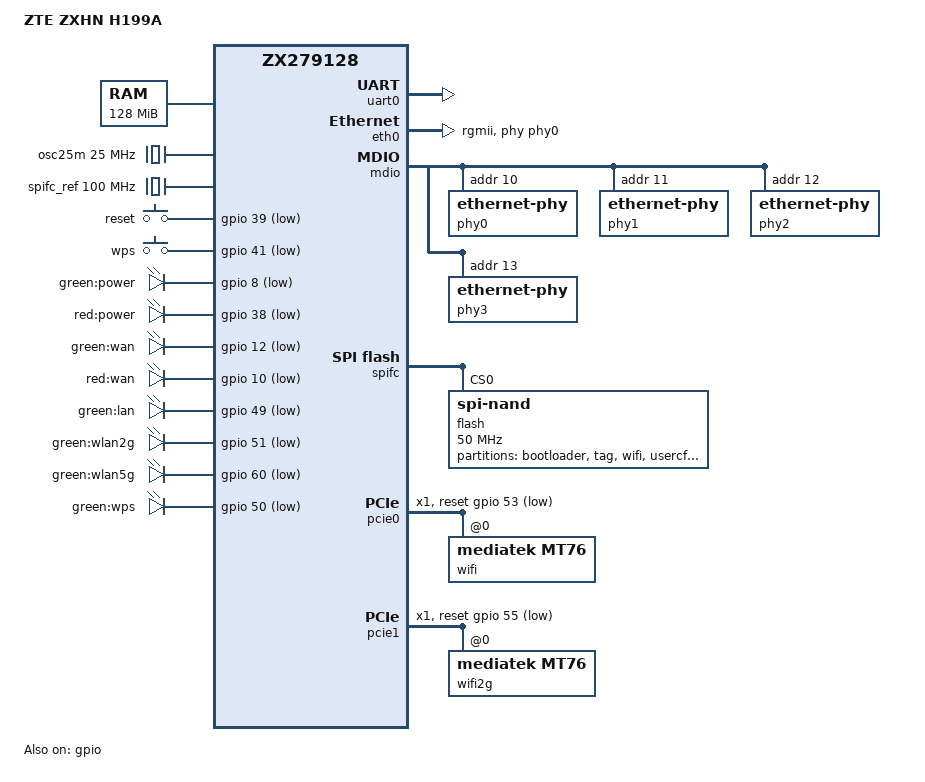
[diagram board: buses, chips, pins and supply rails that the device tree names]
// SPDX-License-Identifier: GPL-2.0-or-later OR MIT
/*
 * ZTE ZXHN H199A Ethernet router — ZX279128S (dual Cortex-A9)
 *
 * First-light bring-up DTS for mainline Linux 6.6 via OpenWrt armsr/armv7.
 *
 * The ZX279128S has no mainline platform support. This DTS uses only
 * generic multiplatform IP blocks present on the SoC (GIC, PL011, A9
 * global timer, PL310 L2), with FIXED clocks at the values inherited
 * from cspboot/U-Boot — no clock driver needed to reach a shell:
 *
 *   uartclk    25 MHz   measured live from the PL011 divisor registers
 *                       (IBRD=13 FBRD=36 @ 115200 → 16×13.5625×115200 ≈ 25 MHz;
 *                       26/104 MHz parents would give IBRD 14/56 — ruled out)
 *   periphclk  500 MHz  stock kernel log: "sched_clock: 64 bits at 500MHz"
 *                       (= CPU 1 GHz / 2), feeds the A9 global timer
 *   apb_pclk   125 MHz  AMBA bus gate clock, always-on with fixed clocks
 *
 * Source of truth for addresses/IRQs: the stock DTB extracted from the
 * firmware dump (repo/extracted/h199a-stock.dts, sha256 d5611520…).
 *
 * Secondary CPU startup uses the port's "zte,zx279128s-smp" platform support.
 */

/dts-v1/;
#include <dt-bindings/gpio/gpio.h>
#include <dt-bindings/clock/zte,zx279128s-crm.h>
#include <dt-bindings/reset/zte,zx279128s-crm.h>
#include <dt-bindings/input/input.h>
#include <dt-bindings/interrupt-controller/arm-gic.h>

/ {
	model = "ZTE ZXHN H199A";
	/* Most specific first, as the device-tree convention requires: the board,
	 * then the SoC, then the family. OpenWrt derives /tmp/sysinfo/board_name
	 * from the first entry, so every consumer accepts both the board and the
	 * SoC string - an image built before this change still validates, and a
	 * unit already running this one keeps working after it.
	 */
	compatible = "zte,zxhn-h199a", "zte,zx279128s", "zte,zx279128";

	#address-cells = <1>;
	#size-cells = <1>;
	interrupt-parent = <&gic>;

	chosen {
		stdout-path = "serial0:115200n8";
		/* Replaced by the decompressor only after validating the vendor's
		 * selected-bank BootPara; 0xffffffff means unavailable (RAM boot).
		 */
		zte,boot-bank = <0xffffffff>;
		/* appended to the bootloader cmdline via
		 * CONFIG_ARM_ATAG_DTB_COMPAT_CMDLINE_EXTEND (cspstart
		 * overrides env bootargs from in-flash BootPara) */
		bootargs = "earlycon=zteuart,0x94404000 ignore_loglevel";
	};

	aliases {
		spi0 = &spifc;
		serial0 = &uart0;
		serial1 = &uart1;
		led-boot = &led_power;
		led-failsafe = &led_power;
		led-running = &led_power;
		led-upgrade = &led_power;
	};

	cpus {
		#address-cells = <1>;
		#size-cells = <0>;
		enable-method = "zte,zx279128s-smp";	/* arch/arm/mach-zx279128 */

		cpu@0 {
			device_type = "cpu";
			compatible = "arm,cortex-a9";
			reg = <0>;
			next-level-cache = <&l2cc>;
		};

		cpu@1 {
			device_type = "cpu";
			compatible = "arm,cortex-a9";
			reg = <1>;
			next-level-cache = <&l2cc>;
		};
	};

	/* The Ethernet datapath's hardware buffer manager hands out 2 KiB
	 * buffers addressed as 0x41000000 + (index << 11); the index is 11 bits
	 * (< 2048), so the pool spans 4 MiB. Linux must not allocate here.
	 * This is the only carve-out of the 128 MiB below: the forced
	 * CONFIG_CMDLINE has no mem=, there are no /memreserve/ entries, and
	 * the platform code reserves nothing (the stock kernel's top 18 MiB
	 * at 0x46e00000 are ordinary RAM here).
	 */
	reserved-memory {
		#address-cells = <1>;
		#size-cells = <1>;
		ranges;

		/* Whole datapath window, the ethernet node's memory-region.
		 * The TM registers point at several DDR regions: pool
		 * 0x41000000 (TMC+0xf4), 0x41400000 (TMC+0xf8),
		 * 0x41800000/0x41808000 (TMC+0xe8/0xec), RX ring 0x41a00000
		 * (TMC+0xf0), and 0x41b00000/0x41c00000 (TMQ+0x50/0x60).
		 * Reserve the lot so Linux never allocates over any of them.
		 * The driver programs these as offsets from this base and
		 * needs the full 16 MiB, 1 MiB aligned, no-map (it ioremaps
		 * the parts it touches).
		 */
		eth_bufs: eth-datapath@41000000 {
			reg = <0x41000000 0x01000000>;
			no-map;
		};

	};

	memory@40000000 {
		device_type = "memory";
		reg = <0x40000000 0x08000000>; /* 128 MiB DDR */
	};

	clocks {
		osc25m: clock-25m {
			compatible = "fixed-clock";
			#clock-cells = <0>;
			clock-frequency = <25000000>;
		};

		uartclk: clock-uart {
			compatible = "fixed-clock";
			#clock-cells = <0>;
			clock-frequency = <25000000>;
		};

		spifc_ref: clock-spifc-ref {
			compatible = "fixed-clock";
			#clock-cells = <0>;
			/* Boot-configured pll_lsp / 10, verified stock clock model. */
			clock-frequency = <100000000>;
		};

		apb_pclk: clock-apb {
			compatible = "fixed-clock";
			#clock-cells = <0>;
			clock-frequency = <125000000>;
		};

		periphclk: clock-periph {
			compatible = "fixed-clock";
			#clock-cells = <0>;
			clock-frequency = <500000000>;
		};
	};

	/* Buttons and LEDs.
	 *
	 * Pin assignments come from the stock kernel's own descriptor tables:
	 * a button array giving RESET = 39 and WPS = 41, and an LED array
	 * naming each of the pins below. GetKeyGPIO returns the INVERSE of the
	 * pin level, so both buttons are active low.
	 *
	 * Visual tests confirmed all eight declared LED channels active low.
	 * GPIO48 had no observed effect on the faint red WPS indicator and is
	 * intentionally omitted until its physical behavior is established.
	 */
	keys {
		compatible = "gpio-keys-polled";
		poll-interval = <20>;

		key-reset {
			label = "reset";
			gpios = <&gpio 39 GPIO_ACTIVE_LOW>;
			linux,code = <KEY_RESTART>;
		};

		key-wps {
			label = "wps";
			gpios = <&gpio 41 GPIO_ACTIVE_LOW>;
			linux,code = <KEY_WPS_BUTTON>;
		};
	};

	leds {
		compatible = "gpio-leds";

		/* Labels and active-low polarity verified on the physical board. */
		led_power: led-power-green {
			label = "green:power";
			gpios = <&gpio 8 GPIO_ACTIVE_LOW>;
			default-state = "on";
		};

		led-power-red {
			label = "red:power";
			gpios = <&gpio 38 GPIO_ACTIVE_LOW>;
		};

		led-wan-green {
			label = "green:wan";
			gpios = <&gpio 12 GPIO_ACTIVE_LOW>;
		};

		led-wan-red {
			label = "red:wan";
			gpios = <&gpio 10 GPIO_ACTIVE_LOW>;
		};

		led-lan {
			label = "green:lan";
			gpios = <&gpio 49 GPIO_ACTIVE_LOW>;
		};

		led-wlan2g {
			label = "green:wlan2g";
			gpios = <&gpio 51 GPIO_ACTIVE_LOW>;
		};

		led-wlan5g {
			label = "green:wlan5g";
			gpios = <&gpio 60 GPIO_ACTIVE_LOW>;
		};

		led-wps-green {
			label = "green:wps";
			gpios = <&gpio 50 GPIO_ACTIVE_LOW>;
		};
		/* GPIO 48 had no visible effect in isolated low/high trials.
		 * The faint red WPS indicator remains unmapped; do not claim a
		 * working red channel from an inferred vendor-table label.
		 */
	};

	soc {
		compatible = "simple-bus";
		#address-cells = <1>;
		#size-cells = <1>;
		ranges;

		gic: interrupt-controller@801000 {
			compatible = "arm,cortex-a9-gic";
			#interrupt-cells = <3>;
			#address-cells = <0>;
			interrupt-controller;
			reg = <0x00801000 0x1000>,
			      <0x00800100 0x0100>;
		};

		timer@800200 {
			compatible = "arm,cortex-a9-global-timer";
			reg = <0x00800200 0x20>;
			interrupts = <GIC_PPI 11 IRQ_TYPE_LEVEL_HIGH>;
			clocks = <&periphclk>;
		};

		/* Watchdog half of the A9 TWD (TWD base 0x800600 + 0x20). The
		 * stock DT gives the global timer and this node the same clock
		 * specifier, so both use periphclk. The registers are banked per
		 * CPU and the driver programs only CPU0's bank. PPI 14 and the CPU0
		 * mask match the stock DT. The interrupt is not requested, because
		 * watchdog mode resets directly. See docs/WATCHDOG.md.
		 */
		/* SoC compatible first: this driver is SoC-specific (it banks the
		 * watchdog to CPU0 with smp_call_function_single), so it must not
		 * claim the generic ARM compatible as its primary match. The generic
		 * string stays as the fallback, which is also what lets the node
		 * validate against arm,twd-wdt.yaml.
		 */
		watchdog@800620 {
			compatible = "zte,zx279128s-wdt", "arm,cortex-a9-twd-wdt";
			reg = <0x00800620 0x20>;
			interrupts = <GIC_PPI 14 (GIC_CPU_MASK_SIMPLE(1) | IRQ_TYPE_EDGE_RISING)>;
			clocks = <&periphclk>;
		};

		/* On-chip SRAM used as the SMP trampoline area: the kernel copies
		 * a pen-release stub here, patches in the secondary entry and
		 * pen_release physical addresses, then wakes CPU1 with sev.
		 *
		 * Modelled as a generic mmio-sram controller with a SoC-specific
		 * child, which is the upstream form: the old "zte,iram" was a bare
		 * compatible with no SoC in the name and no sram binding behind it.
		 * platsmp.c looks the child up by compatible, not the parent, so the
		 * region stays the only thing it can map.
		 */
		iram: sram@200800 {
			compatible = "mmio-sram";
			reg = <0x200800 0x1000>;
			#address-cells = <1>;
			#size-cells = <1>;
			ranges = <0 0x200800 0x1000>;

			smp_sram: smp-sram@0 {
				compatible = "zte,zx279128s-smp-sram";
				reg = <0x0 0x1000>;
			};
		};

		l2cc: l2-cache-controller@c00000 {
			compatible = "arm,pl310-cache";
			reg = <0x00c00000 0x1000>;
			cache-unified;
			cache-level = <2>;
			arm,data-latency = <2 2 2>;
			arm,tag-latency = <2 2 2>;
			/* IOCC is enabled before coherent PCI DMA consumers probe. */
			arm,io-coherent;
			/* Match the verified stock PL310 policy before cache enable. */
			arm,shared-override;
			prefetch-data = <1>;
			prefetch-instr = <1>;
			arm,double-linefill = <1>;
			arm,double-linefill-incr = <0>;
			/* NOTE: arm,full-line-zero-disable was tried here to
			 * chase SMP SQUASHFS corruption and made it WORSE
			 * (21 errors vs 5 with FLZ on). Left enabled.
			 */
		};

		iocc: coherency@a20000 {
			compatible = "zte,zx279128s-iocc";
			reg = <0x00a20000 0x1000>;
		};

		/* console UART (ttyAMA0) — ZTE ZX PL011 variant:
		 * PL011-like with moved registers (DR@0x04, FR@0x14; IBRD/FBRD
		 * at standard 0x24/0x28). Needs vendor_zte + zteuart earlycon
		 * (patches-6.6/998). No AMBA PIDs in hardware → invented ID. */
		uart0: serial@94404000 {
			compatible = "zte,zx279128s-uart", "arm,pl011", "arm,primecell";
			arm,primecell-periphid = <0x001feffe>;
			reg = <0x94404000 0x1000>;
			interrupts = <GIC_SPI 11 IRQ_TYPE_LEVEL_HIGH>;
			clocks = <&uartclk>, <&apb_pclk>;
			clock-names = "uartclk", "apb_pclk";
			status = "okay";
		};

		/* SPI-NAND controller (proprietary spifc) — boot flash is a
		 * Micron MT29F1G01ABAFDWB. Driver: spi-zx279128.c via spi-mem. */
		/* MDIO bus reaching the four on-board GE PHYs.
		 * Register map reverse-engineered from the vendor U-Boot
		 * (+0x04 wdata, +0x08 rdata, +0x10 status, +0x14 ctrl).
		 */
		/* Ethernet datapath. reg[0] is the MAC window of the port the
		 * primary netdev serves (MAC 0); the other entries are the
		 * datapath blocks the driver maps, at the sizes it maps them.
		 * The blocks are ioremapped, not claimed: the MDIO driver's
		 * debug dump and the PP table code map some of them too. SPA
		 * (0x921d4000) and the port attach block (0x921d9000) are
		 * inside npp, as in the vendor's npp node. memory-region is
		 * the DDR window the buffers, free lists and rings live in.
		 */
		eth0: ethernet@92200000 {
			compatible = "zte,zx279128s-eth";
			reg = <0x92200000 0x1000>,	/* MAC 0          */
			      <0x92240000 0x1000>,	/* MAC 1          */
			      <0x92280000 0x1000>,	/* MAC 2          */
			      <0x922c0000 0x1000>,	/* MAC 3          */
			      <0x92000000 0x1000>,	/* fabric reset   */
			      <0x92040000 0x1000>,	/* global         */
			      <0x921c0000 0x20000>,	/* NPP, SPA, attach */
			      <0x92340000 0x1000>,	/* TM config      */
			      <0x92344000 0x1000>,	/* TM desc release / queue table */
			      <0x92348000 0x1000>,	/* buffer manager */
			      <0x9234c000 0x1000>,	/* QMG            */
			      <0x92350000 0x1000>,	/* TM queues      */
			      <0x92380000 0x1000>,	/* PP             */
			      <0x92388000 0x1000>,	/* SBRG (bridge)  */
			      <0x9238c000 0x1000>,	/* CLA            */
			      <0x923a0000 0x1000>;	/* PonPp          */
			reg-names = "mac0", "mac1", "mac2", "mac3", "fabric", "glb",
				    "npp", "tmc", "tmd", "bm", "qmg", "tmq", "pp",
				    "sbrg", "cla", "ponpp";
			phy-handle = <&phy0>;
			phy-mode = "rgmii";
			memory-region = <&eth_bufs>;
			status = "okay";

			/* TM dispatches CPU RX; IDM and PHY lines are separate. */
			interrupts = <GIC_SPI 36 IRQ_TYPE_LEVEL_HIGH>,
				     <GIC_SPI 38 IRQ_TYPE_LEVEL_HIGH>,
				     <GIC_SPI 39 IRQ_TYPE_LEVEL_HIGH>,
				     <GIC_SPI 40 IRQ_TYPE_LEVEL_HIGH>,
				     <GIC_SPI 41 IRQ_TYPE_LEVEL_HIGH>,
				     <GIC_SPI 42 IRQ_TYPE_LEVEL_HIGH>;
			interrupt-names = "tm", "idm", "gephy0", "gephy1",
					  "gephy2", "gephy3";

			/* One node per physical GE port.
			 *
			 * The driver exposes a netdev per port (RX frames are
			 * attributed by the ingress-port field the descriptor
			 * carries) and each netdev drives its OWN PHY, so link
			 * state, speed and the MAC speed programming are real
			 * per port. Before this existed the driver attached
			 * exactly one PHY and left the other three suspended,
			 * which meant a cabled jack read "Link is Down" purely
			 * because phylib had powered its PHY off - and the
			 * datapath was dead if the cable was not on the one
			 * bound port. `all_ports` does NOT compensate for that:
			 * measured 2026-09-06, driver on mac1 with the cable on
			 * mac2, ping was 100% loss in both directions.
			 *
			 * reg is the MAC index N, which is also the descriptor
			 * ingress-port value minus one, and the PHY at MDIO
			 * address 10+N (all three relationships measured).
			 */
			ethernet-ports {
				#address-cells = <1>;
				#size-cells = <0>;

				/* The unit owns four consecutive factory MACs in
				 * `tag`. Records 0 and 1 belong to the two radios
				 * (the stock web UI names them as the 2.4 GHz and
				 * 5 GHz BSSIDs), so the Ethernet ports must not
				 * also claim them or eth0 and the 2.4 GHz AP
				 * would collide inside br-lan. eth0 (and so
				 * br-lan) takes record 2 and the WAN jack, eth3,
				 * takes record 3, so every externally visible
				 * address is a genuine factory one. The LAN
				 * member ports eth1 and eth2 are DERIVED from
				 * record 2 by the driver. eth0 is the DT-bound
				 * port, so it is probed first and record 2
				 * stays the derivation base.
				 *
				 * The derivation is the vendor's own, copied from
				 * how it numbers extra BSSIDs: set the
				 * locally-administered bit and put the index in
				 * byte 3's high nibble, so 02:00:00:00:00:05
				 * becomes 06:20:84:1f:87:b5, :2f:, :3f:. That
				 * stays inside address space this unit owns
				 * instead of poaching the next serial number's.
				 */
				port@0 {
					reg = <0>;
					phy-handle = <&phy0>;
					phy-mode = "rgmii";
					nvmem-cells = <&macaddr_tag_2>;
					nvmem-cell-names = "mac-address";
				};

				port@1 {
					reg = <1>;
					phy-handle = <&phy1>;
					phy-mode = "rgmii";
				};

				port@2 {
					reg = <2>;
					phy-handle = <&phy2>;
					phy-mode = "rgmii";
				};

				port@3 {
					reg = <3>;
					phy-handle = <&phy3>;
					phy-mode = "rgmii";
					nvmem-cells = <&macaddr_tag_3>;
					nvmem-cell-names = "mac-address";
				};
			};
		};

		mdio: mdio@9a101000 {
			compatible = "zte,zx279128s-mdio";
			reg = <0x9a101000 0x18>;
			/* The stock DT names lsp1crpm clock 1, fb_mdio_wclk. */
			clocks = <&crm ZX_CRM_MDIO_PCLK>, <&crm ZX_CRM_MDIO_WCLK>;
			clock-names = "pclk", "wclk";
			#address-cells = <1>;
			#size-cells = <0>;
			status = "okay";

			/* The four on-board GE PHYs answer at MDIO addresses
			 * 10-13 (verified by a probe-time bus scan; all report
			 * PHY ID 84b9:5031).
			 */
			phy0: ethernet-phy@10 { reg = <10>; };
			phy1: ethernet-phy@11 { reg = <11>; };
			phy2: ethernet-phy@12 { reg = <12>; };
			phy3: ethernet-phy@13 { reg = <13>; };
		};

		/* Six banks of sixteen pins, 0x40 apart. Recovered from the
		 * vendor bootloader's gpiotest command and the stock kernel's
		 * zte_gpio_* ksyms; the same registers pcie-zx279128.c drove
		 * PERST# through before this node existed. PCIe PERST# (pins 53
		 * and 55) now comes from the pcie nodes' reset-gpios.
		 *
		 * Pin muxing is a separate block (CRM2) that the bootloader
		 * programs before Linux starts, so pins not already muxed to
		 * GPIO by the bootloader will not respond here.
		 */
		gpio: gpio@94407000 {
			compatible = "zte,zx279128s-gpio";
			reg = <0x94407000 0x180>;
			clocks = <&crm ZX_CRM_GPIO_PCLK>;
			gpio-controller;
			#gpio-cells = <2>;
			status = "okay";
		};

		reboot: reset-controller@94000044 {
			compatible = "zte,zx279128s-reboot";
			reg = <0x94000044 0x4>;
		};

		/* Clock/reset manager: TOPCRM, CRM1, LSP0CRPM and LSP1CRPM.
		 * The driver maps these windows without claiming them - the
		 * reboot node claims TOPCRM+0x44 and the PCIe nodes map TOPCRM
		 * and CRM1 as well - and models only fields from the stock
		 * kernel's clock tables that a node here uses: the SPI, GPIO
		 * and MDIO clocks, the shared LSP0/LSP1 parent gates and the
		 * PCIe resets in CRM1+0x74. Every gate it models is registered
		 * critical, so none can be turned off.
		 */
		crm: clock-controller@94000000 {
			compatible = "zte,zx279128s-crm";
			reg = <0x94000000 0x1000>,
			      <0x94100000 0x1000>,
			      <0x94400000 0x1000>,
			      <0x9a100000 0x1000>;
			reg-names = "topcrm", "crm1", "lsp0crpm", "lsp1crpm";
			clocks = <&spifc_ref>, <&apb_pclk>;
			clock-names = "lsp0-wclk", "lsp0-pclk";
			#clock-cells = <1>;
			#reset-cells = <1>;
		};

		spifc: spi@94406000 {
			compatible = "zte,zx279128s-spifc";
			reg = <0x94406000 0x1000>;
			interrupts = <GIC_SPI 13 IRQ_TYPE_LEVEL_HIGH>;
			clocks = <&crm ZX_CRM_SPI_PCLK>, <&crm ZX_CRM_SPI_WCLK>;
			clock-names = "pclk", "wclk";
			#address-cells = <1>;
			#size-cells = <0>;
			status = "okay";

			flash@0 {
				compatible = "spi-nand";
				reg = <0>;
				spi-max-frequency = <50000000>;
				spi-rx-bus-width = <2>;
				/* Native read qualification: no unlock, program or erase. */
				read-only;

				partitions {
					compatible = "fixed-partitions";
					#address-cells = <1>;
					#size-cells = <1>;

					partition@0 {
						label = "bootloader";
						reg = <0x0000000 0x0100000>;
						read-only;
					};
					/* Per-unit factory data: serial number, the
					 * stock SSIDs and Wi-Fi keys, and four MAC
					 * addresses.
					 *
					 * The MACs are TLV records at 0x1e + 0x18*n,
					 * each preceded by its two-byte index
					 * (00 01, 01 01, 02 01, 03 01). Verified
					 * against a full 128 MiB dump of one unit:
					 * exactly four binary occurrences of the OUI
					 * and no ASCII copies. On that unit they read
					 * 02:00:00:00:00:03 .. :b6 - four sequential
					 * addresses, one per GE port.
					 *
					 * This is the SINGLE source of truth for the
					 * MAC. Do not add a second writer in board.d
					 * or uci-defaults: two independent writers is
					 * what made the address non-deterministic on
					 * the dir842 port.
					 */
					partition@100000 {
						compatible = "nvmem-cells";
						label = "tag";
						reg = <0x0100000 0x0100000>;
						read-only;
						#address-cells = <1>;
						#size-cells = <1>;

						macaddr_tag_0: macaddr@1e {
							reg = <0x1e 0x6>;
						};

						macaddr_tag_1: macaddr@36 {
							reg = <0x36 0x6>;
						};

						macaddr_tag_2: macaddr@4e {
							reg = <0x4e 0x6>;
						};

						macaddr_tag_3: macaddr@66 {
							reg = <0x66 0x6>;
						};
					};
					wifi_cal: partition@200000 {
						label = "wifi";
						reg = <0x0200000 0x0100000>;
						read-only;
					};
					partition@300000 {
						label = "usercfg";
						reg = <0x0300000 0x0200000>;
						read-only;
					};
					partition@500000 {
						label = "defcfg";
						reg = <0x0500000 0x0200000>;
						read-only;
					};
					partition@700000 {
						label = "kernel1";
						reg = <0x0700000 0x0300000>;
					};
					partition@a00000 {
						label = "rootfs";
						reg = <0x0a00000 0x0d20000>;
						/* NOT marked read-only.
						 *
						 * Round 118 set `read-only` here to stop
						 * CONFIG_MTD_BLOCK's read-modify-write from erasing
						 * the squashfs tail (a write erases the whole 128 KiB
						 * block and writes it back, leaving it ERASED if the
						 * write-back fails). That worked, but `read-only`
						 * clears MTD_WRITEABLE for the CHAR device too, so
						 * `mtd write ... rootfs` fails with -EROFS and
						 * sysupgrade cannot write the rootfs at all
						 * (verified on hardware, round 141).
						 *
						 * The structural fix is to remove the RMW block
						 * device instead: CONFIG_MTD_BLOCK=n with
						 * CONFIG_MTD_BLOCK_RO=y. squashfs still gets a block
						 * device, RMW becomes impossible rather than merely
						 * forbidden, and the char device stays writable.
						 * (drivers/mtd/Kconfig calls the caching a "danger".)
						 */
					};
					/* Bank A's zteboot header: CRC32 of the kernel area at
					 * +0x3c, of the fs area at +0x48, and a self-CRC at
					 * +0xa4. Needs to be a partition so sysupgrade can
					 * rewrite it (see base-files/lib/upgrade/platform.sh);
					 * it is deliberately the LAST thing written, so a power
					 * loss mid-upgrade leaves a CRC mismatch and the
					 * bootloader falls back to the intact stock bank.
					 */
					partition@1720000 {
						label = "header";
						reg = <0x1720000 0x0020000>;
					};
					partition@2000000 {
						label = "kernel2";
						reg = <0x2000000 0x0300000>;
						read-only;
					};
					partition@2300000 {
						label = "rootfs2";
						reg = <0x2300000 0x0d20000>;
						read-only;
					};
					/* OpenWrt overlay.
					 *
					 * It must NOT live inside the `rootfs`
					 * partition: the vendor image header carries a
					 * CRC over that whole partition and the
					 * bootloader checks it on every boot, so any
					 * overlay write invalidates it and the board
					 * silently falls back to the stock bank
					 * (observed in rounds 86 and 97).
					 *
					 * The factory dump is erased from 0x3040000 to
					 * the end of the 128 MiB device (last vendor
					 * data is bank B's header at 0x3020000), so
					 * this region is free and outside every CRC.
					 */
					partition@4000000 {
						label = "rootfs_data";
						reg = <0x4000000 0x1000000>;
					};

					/* Staging area for sysupgrade images.
					 *
					 * !! VERIFY THIS ON YOUR OWN DEVICE BEFORE USE !!
					 * The region was confirmed erased on ONE unit
					 * (firmware V9.1.1). Flash contents are NOT
					 * identical across units - this device family
					 * stores per-unit data in flash (serial number,
					 * SSID and Wi-Fi key are all visible in mtd1) -
					 * and a unit with different or upgraded firmware
					 * may hold something here. See docs/INSTALL.md
					 * for how to check before erasing.
					 *
					 * The datapath cannot carry a 17 MB transfer
					 * (see docs/ETHERNET.md), so an image is placed
					 * here from U-Boot over TFTP and read back from
					 * Linux with dd. That makes sysupgrade testable
					 * without needing the network to work.
					 *
					 * Verified safe against a full 128 MiB dump of
					 * this device: 0x05000000-0x08000000 is 100.00%
					 * erased. The neighbouring gap at 0x03000000 is
					 * NOT free - it holds high-entropy vendor data -
					 * and bank B lives at 0x02000000-0x03020000, so
					 * neither may be used.
					 */
					partition@5000000 {
						label = "staging";
						reg = <0x5000000 0x1400000>;
					};
				};
			};
		};

		/* PCIe port 0 - MediaTek MT7613BE (14c3:7663) Wi-Fi.
		 *
		 * The stock DT node is `pcie@10000000` with no `reg` at all,
		 * which cannot work with the DesignWare host framework: it
		 * requires a "config" reg region and hard-fails without one.
		 * Addresses below were recovered by RE and verified on
		 * hardware (docs/WIFI.md rounds 100-108).
		 *
		 * INTx: kernel 6.6's dw_pcie_host_init() does NOT build a
		 * legacy IRQ domain - INTx is resolved by the PCI core from
		 * this interrupt-map, so four entries and no subnode.
		 */
		pcie0: pcie@f000000 {
			compatible = "zte,zx279128s-pcie";
			device_type = "pci";
			/* crm0..crm2 are the clock/reset blocks both ports
			 * share (TOPCRM, CRM1, CRM2); the driver maps them
			 * without claiming them and only the first port to
			 * probe uses them. Both nodes must give the same
			 * three windows. The dbi address tells the driver
			 * which port a node is (0x0f000000 is port 0).
			 */
			reg = <0x0f000000 0x4000>,	/* DesignWare DBI      */
			      <0x1c000000 0x100000>,	/* config aperture     */
			      <0x09500000 0x1000>,	/* vendor glue         */
			      <0x94000000 0x1000>,	/* CRM0 (TOPCRM)       */
			      <0x94100000 0x1000>,	/* CRM1                */
			      <0x94200000 0x1000>;	/* CRM2                */
			reg-names = "dbi", "config", "app", "crm0", "crm1", "crm2";
			/* PERST# of the MT7613BE slot. */
			reset-gpios = <&gpio 53 GPIO_ACTIVE_LOW>;
			/* Core reset, CRM1+0x74 bit 0. */
			resets = <&crm ZX_CRM_RST_PCIE0>;
			dma-coherent;

			bus-range = <0x00 0xff>;
			num-lanes = <1>;
			/* Keep PCI core retraining within the driver's Gen1 limit. */
			max-link-speed = <1>;
			#address-cells = <3>;
			#size-cells = <2>;

			/* MEM window: must NOT overlap the config aperture
			 * above, or the CFG and MEM outbound iATU windows
			 * fight and BAR reads return 0xffffffff.
			 */
			/* 0x08000000: vendor resource "pcie0 mem space" is
			 * 0x10000000-0x17ffffff (128 MiB); we were advertising
			 * 192 MiB, 64 MiB of which the hardware does not decode.
			 */
			ranges = <0x82000000 0 0x10000000  0x10000000  0 0x08000000>;

			#interrupt-cells = <1>;
			interrupt-map-mask = <0 0 0 7>;
			/* ★ The stock DTS's four interrupts are NOT INTA-D of one
			 * port. Sorted they are 59, 63, 74, 78, and 63->78 and
			 * 59->74 are BOTH +15: they are TWO PORTS x TWO LINES,
			 * interleaved exactly in the order the stock DTS lists them
			 * (63, 78, 59, 74) = port0-A, port1-A, port0-B, port1-B.
			 *
			 * Measured 2026-09-06: with the MT7603E on port 1 failing
			 * its MCU handshake and nobody servicing it, GICD_ISPENDR
			 * showed exactly one unserviced line pending - ID 110, i.e.
			 * SPI 78. Port 0's INTA (SPI 63, ID 95) was NOT pending,
			 * because mt7615e services it. So SPI 78 is port 1's line,
			 * and mapping it to port 0's was why the MT7603E's handler
			 * never fired.
			 *
			 * INTC/INTD are unknown; a single-function endpoint uses
			 * INTA, so they are aliased to the two known lines rather
			 * than invented.
			 */
			interrupt-map = <0 0 0 1 &gic GIC_SPI 63 IRQ_TYPE_LEVEL_HIGH>,
					<0 0 0 2 &gic GIC_SPI 59 IRQ_TYPE_LEVEL_HIGH>,
					<0 0 0 3 &gic GIC_SPI 63 IRQ_TYPE_LEVEL_HIGH>,
					<0 0 0 4 &gic GIC_SPI 59 IRQ_TYPE_LEVEL_HIGH>;
			status = "okay";

			/* MT7613BE (14c3:7663) on bus 1.
			 *
			 * Without calibration data mt76 falls back to 3 dBm, which is
			 * far too weak to be usable. The vendor stores an mt76 EEPROM
			 * blob at `wifi` partition + 0x20000 - it begins with the
			 * chip id 0x7663 followed by the MAC 00:0c:43:26:60:00,
			 * exactly the mt76 EEPROM layout.
			 */
			/* The endpoint sits on bus 1 behind the root port, so the DT
			 * must mirror that: a node for the root port (bus 0, dev 0)
			 * containing the device node. A flat wifi@0,0 directly under
			 * the controller does not match, which is why mt76 fell back
			 * to a random MAC and 3 dBm.
			 */
			pcie@0,0 {
				reg = <0x0000 0 0 0 0>;
				#address-cells = <3>;
				#size-cells = <2>;
				device_type = "pci";
				ranges;

				wifi@0,0 {
					compatible = "mediatek,mt76";
					reg = <0x0000 0 0 0 0>;
					mediatek,mtd-eeprom = <&wifi_cal 0x20000>;
					/* The calibration blob's MAC is
					 * 00:0c:43:26:60:00 - a MediaTek default,
					 * identical on every unit. The real one is
					 * factory data in `tag`. The stock web UI
					 * names it directly: "SSID5 (5GHz) ...
					 * Endereco MAC 02:00:00:00:00:04", which is
					 * tag record 1.
					 */
					nvmem-cells = <&macaddr_tag_1>;
					nvmem-cell-names = "mac-address";
				};
			};
		};

		/* PCIe port 1 - expected to host the 2.4 GHz MediaTek MT7603E.
		 *
		 * The vendor ships two Wi-Fi modules (mt7603e_ap 2.4 GHz and
		 * mtk7613e_ap 5 GHz) and the vendor driver mirrors every base
		 * for a second port: DBI 0x0f100000, glue 0x09600000, MEM
		 * window 0x20000000, second window 0x2c000000. Port 0 gave us
		 * the MT7613BE; this brings up the other half.
		 *
		 * The CRM clock/reset sequence is shared and run once, by
		 * whichever port probes first; PERST# for this port is GPIO 55
		 * (reset-gpios below).
		 */
		pcie1: pcie@f100000 {
			compatible = "zte,zx279128s-pcie";
			device_type = "pci";
			/* CONFIRMED from the vendor's named struct resource array at
			 * 0xc05b2aa8:
			 *   "pcie0 reg"       0x0f000000-0x0f003fff
			 *   "pcie1 reg"       0x0f100000-0x0f103fff   <- this port
			 *   "pcie0 mem space" 0x10000000-0x17ffffff
			 *   "pcie1 mem space" 0x20000000-0x27ffffff
			 * The MEM entries match the stock boot log exactly, so the
			 * table is authoritative. Note the register window is
			 * 0x4000, not 0x1000. The config aperture and glue base
			 * below are still UNCONFIRMED mirror-guesses.
			 */
			/* ★ ALL THREE ADDRESSES ARE NOW CONFIRMED, read out of the
			 * vendor kernel (ref/stock-vmlinux.bin). One function at
			 * VA 0xc0015de0 makes six ioremap calls in a row - port 0
			 * then port 1, stored into two per-port records 0x38 apart:
			 *
			 *   0xc0015f00  mov r0,#0x0f000000   DBI0
			 *   0xc0015f34  mov r0,#0x09500000   GLUE0   <- known good
			 *   0xc0015f48  mov r0,#0x1c000000   CONFIG0
			 *   0xc0015f88  mov r0,#0x0f100000   DBI1
			 *   0xc0015fb0  mov r0,#0x09600000   GLUE1   <- this port
			 *   0xc0015fc4  mov r0,#0x2c000000   CONFIG1
			 *
			 * GLUE0 is the base this driver already drives on port 0,
			 * so the port-1 value is anchored to something measured,
			 * not mirrored by guesswork. The vendor maps config with
			 * size 0x10000, not the 0x100000 we advertise.
			 *
			 * ✗ The earlier "0x09600000 does not decode" result is a
			 * FALSE NEGATIVE. zx_pcie_probe_glue_bases() runs only from
			 * PORT 0's probe, i.e. after port 0's CRM branch and never
			 * after port 1's - so BIT(27) of CRM0[0x08], port 1's clock
			 * enable, had never been set when that read was taken.
			 * Measured 2026-09-06 on a live port-0 boot:
			 * CRM0[0x08] = 0x1006ffff, and bit 27 is clear. The probe
			 * read an unclocked block.
			 */
			reg = <0x0f100000 0x4000>,	/* DBI    (confirmed) */
			      <0x2c000000 0x100000>,	/* config (confirmed) */
			      <0x09600000 0x1000>,	/* glue   (confirmed) */
			      <0x94000000 0x1000>,	/* CRM0, shared, see pcie0 */
			      <0x94100000 0x1000>,	/* CRM1 */
			      <0x94200000 0x1000>;	/* CRM2 */
			reg-names = "dbi", "config", "app", "crm0", "crm1", "crm2";
			/* PERST# of the MT7603E slot. */
			reset-gpios = <&gpio 55 GPIO_ACTIVE_LOW>;
			/* Core reset, CRM1+0x74 bit 3. */
			resets = <&crm ZX_CRM_RST_PCIE1>;
			dma-coherent;

			bus-range = <0x00 0xff>;
			num-lanes = <1>;
			max-link-speed = <1>;
			#address-cells = <3>;
			#size-cells = <2>;

			/* 0x08000000: the vendor resource says this window is
			 * 0x20000000-0x27ffffff (128 MiB). We were advertising
			 * 192 MiB, i.e. 64 MiB the hardware does not decode.
			 */
			ranges = <0x82000000 0 0x20000000  0x20000000  0 0x08000000>;

			/* ✗ dma-ranges was TRIED here and does NOT help. The theory
			 * was that port 1's inbound ATU is left unprogrammed (the
			 * DesignWare core sets one up only if dma-ranges exists),
			 * which fit the symptom exactly: MMIO to the endpoint works,
			 * and the first thing needing device->host DMA fails.
			 * Adding `dma-ranges = <0x42000000 0 0x40000000 0x40000000
			 * 0 0x08000000>` changed nothing - byte-identical failure,
			 * "MCU message 01 (seq 1) timed out". Removed rather than
			 * left in as unproven noise.
			 */

			#interrupt-cells = <1>;
			interrupt-map-mask = <0 0 0 7>;
			/* Port 1's lines: SPI 78 (INTA) and 74 (INTB) - the +15
			 * mirrors of port 0's 63 and 59. SPI 78 is the line that was
			 * measured pending and unserviced while the MT7603E sat in
			 * its failed MCU handshake. See the note on pcie0.
			 */
			interrupt-map = <0 0 0 1 &gic GIC_SPI 78 IRQ_TYPE_LEVEL_HIGH>,
					<0 0 0 2 &gic GIC_SPI 74 IRQ_TYPE_LEVEL_HIGH>,
					<0 0 0 3 &gic GIC_SPI 78 IRQ_TYPE_LEVEL_HIGH>,
					<0 0 0 4 &gic GIC_SPI 74 IRQ_TYPE_LEVEL_HIGH>;
			/* ★ ENABLED AND WORKING 2026-09-06. Port 1 trains, and the
			 * MT7603E 2.4 GHz radio behind it enumerates:
			 *
			 *   /sys/bus/pci/devices/ -> 0000:00:00.0 0000:01:00.0
			 *                            0001:00:00.0 0001:01:00.0
			 *   0001:01:00.0 vendor:device = 0x14c3:0x7603  (MT7603E)
			 *   mt7603e 0001:01:00.0: ASIC revision: 76030010
			 *   mt7603e 0001:01:00.0: Firmware Version: ...
			 *
			 * Three things had to be true at once, and only the last
			 * was missing: the confirmed glue base above, the port-1
			 * clock/reset writes actually landing (they always did),
			 * and the CONTIGUOUS CLOCK TRIPLE in CRM0[0x08] - port 0
			 * enables bits 13/14/15 and port 1 needs 25/26/27, where
			 * the driver used to set only bit 27. See pcie-zx279128.c.
			 *
			 * History, so nobody re-runs it.
			 *
			 * History, so nobody re-runs it: round 120 enabled this
			 * node and the board hung at the first DBI access with an
			 * imprecise external abort. That was WITH 0x09600000 as the
			 * app entry, so the address is not what changed - what
			 * changed is the understanding of why the probe read it as
			 * dead (see the reg comment: port 1's clock enable had
			 * never run). If this still wedges, the next suspects are
			 * the two resets port 1's branch never performs -
			 * CRM1[0x74] BIT(0) and CRM2[0x0c] BIT(14) - which port 0
			 * clears in its FIRST phase and port 1 only ever sets.
			 *
			 * Test this with a TFTP RAM boot before flashing it: an
			 * imprecise external abort here wedges the CPU with no oops
			 * and needs a power cycle.
			 */
			status = "okay";

			/* MT7603 uses a 512-byte base from the owner's stock rootfs
			 * plus factory trim bytes from OTP. build.sh supplies the
			 * validated base through a generated private include.
			 * The factory MAC comes from tag record 0.
			 */
			pcie@0,0 {
				reg = <0x0000 0 0 0 0>;
				#address-cells = <3>;
				#size-cells = <2>;
				device_type = "pci";
				ranges;

				wifi2g: wifi@0,0 {
					compatible = "mediatek,mt76";
					reg = <0x0000 0 0 0 0>;
					mediatek,eeprom-merge-otp;
					nvmem-cells = <&macaddr_tag_0>;
					nvmem-cell-names = "mac-address";
				};
			};

		};

		/* second UART, unpopulated header — keep for later */
		uart1: serial@94405000 {
			compatible = "zte,zx279128s-uart", "arm,pl011", "arm,primecell";
			arm,primecell-periphid = <0x001feffe>;
			reg = <0x94405000 0x1000>;
			interrupts = <GIC_SPI 12 IRQ_TYPE_LEVEL_HIGH>;
			clocks = <&uartclk>, <&apb_pclk>;
			clock-names = "uartclk", "apb_pclk";
			status = "disabled";
		};
	};
};

/*
 * Deliberately absent for first light (added one per bring-up phase):
 *   - denali NAND @0xd80000 (needs its wclk; hand-off via fixed 125M first)
 *   - the unmodelled CRM fields, CRM2 included (fixed clocks suffice now)
 *   - PCIe @0x10000000 (Wi-Fi MT7603/MT7613 — mt76 drivers exist mainline)
 *   - gephy/switch, PON blocks, dwc2/dwc3 USB, I2C, SSP, temp sensor
 * Stock DTB equivalents live in repo/extracted/h199a-stock.dts as reference.
 */
